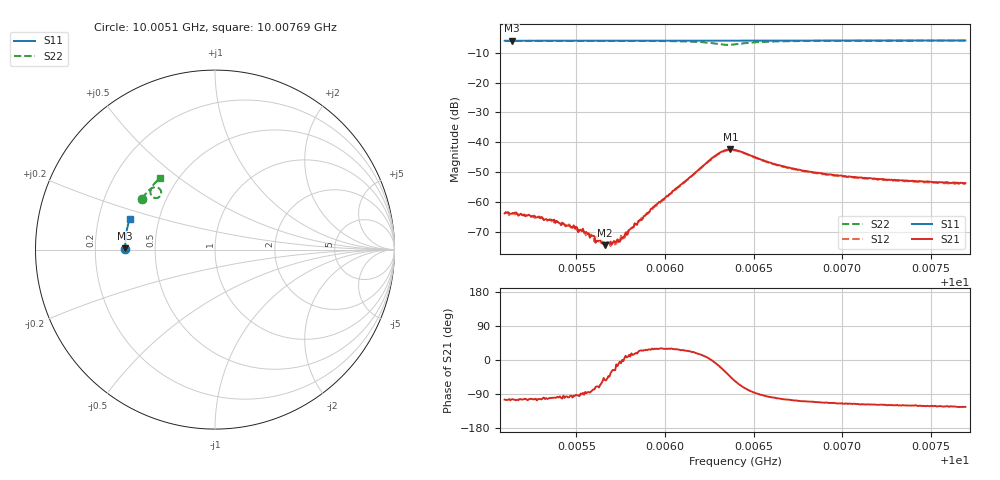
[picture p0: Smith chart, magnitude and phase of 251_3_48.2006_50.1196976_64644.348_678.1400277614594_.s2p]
#  HZ  S  RI  R  50.00
! Rohde & Schwarz Vector Network Analyzer
! Rohde-Schwarz,ZNB20-2Port,1311601062101988,3.16
! Created: UTC 3/20/2024, 11:47:16 AM
! freq[Hz]  re:S11  im:S11  re:S21  im:S21  re:S12  im:S12  re:S22  im:S22
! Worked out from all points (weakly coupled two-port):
!   401 points, 10.0051 GHz to 10.00769 GHz, reference 50 ohm
!   highest |S21| = -42.34 dB at 10.00637 GHz (marker M1); lowest = -74.3 dB at 10.00566 GHz (marker M2)
!   lowest |S11| = -6.0 dB at 10.00513 GHz (marker M3), VSWR 3.00, Z = 16.7 + j0.28 ohm
!   |S11| at or under -10 dB: nowhere
!   |S22| runs from -7.4 to -6.0 dB; largest |S21 - S12| = 0.00045
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1.0005095e10  -0.4998 0.00382  -0.000162 -0.000629  -0.000137 -0.000677  -0.4056 0.2837
1.0005134e10  -0.4998 0.00631  -0.000155 -0.000623  -0.000113 -0.000643  -0.4042 0.286
1.0005355e10  -0.5 0.0207  -9.54e-05 -0.000505  -6.86e-05 -0.000495  -0.3955 0.299
1.0005531e10  -0.4998 0.0322  -4.14e-06 -0.000329  2.93e-05 -0.000336  -0.3878 0.3096
1.0005622e10  -0.4995 0.0381  7.73e-05 -0.00021  9.23e-05 -0.000207  -0.3833 0.3151
1.0005635e10  -0.4993 0.0389  9.82e-05 -0.000215  0.000117 -0.000196  -0.3828 0.316
1.0005661e10  -0.4992 0.0406  0.000115 -0.000153  0.000112 -0.000178  -0.3813 0.3175
1.0005706e10  -0.4992 0.0436  0.000189 -9.25e-05  0.000194 -9.53e-05  -0.3788 0.3203
1.0005732e10  -0.499 0.0452  0.00023 -6.51e-05  0.000222 -4.35e-05  -0.3774 0.322
1.0005752e10  -0.499 0.0466  0.000239 -3.56e-05  0.000272 -4.1e-05  -0.3764 0.3234
1.0005778e10  -0.4989 0.0482  0.000306 5.96e-05  0.000277 3.63e-05  -0.3748 0.3249
1.0005842e10  -0.4987 0.0524  0.000399 0.000123  0.000425 0.000179  -0.3705 0.3292
1.0005966e10  -0.4979 0.0605  0.000873 0.000497  0.000812 0.000492  -0.3608 0.3375
1.0006284e10  -0.4951 0.081  0.00595 -0.00081  0.00585 -0.000517  -0.3023 0.3291
1.0006323e10  -0.4946 0.0832  0.00648 -0.00282  0.00649 -0.00245  -0.3001 0.3105
1.0006369e10  -0.4943 0.0859  0.00545 -0.00535  0.00559 -0.00496  -0.3139 0.2914
1.0006395e10  -0.494 0.0874  0.00422 -0.00619  0.0044 -0.00585  -0.326 0.2872
1.0006616e10  -0.4925 0.1015  -0.000706 -0.00431  -0.000516 -0.00428  -0.3595 0.3268
1.000683e10  -0.49 0.1152  -0.0011 -0.00299  -0.000956 -0.00299  -0.3504 0.35
1.0006986e10  -0.4879 0.1252  -0.00114 -0.00253  -0.00101 -0.0025  -0.3426 0.3612
1.0007266e10  -0.4837 0.1426  -0.00115 -0.00209  -0.00103 -0.00211  -0.3283 0.3777
1.0007695e10  -0.4759 0.1692  -0.00116 -0.00173  -0.00104 -0.00174  -0.3064 0.3986
